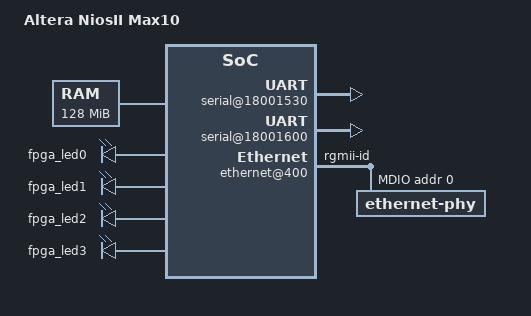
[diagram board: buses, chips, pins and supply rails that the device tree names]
/dts-v1/;

/ {
	model = "Altera NiosII Max10";
	compatible = "altr,niosii-max10";
	#address-cells = <0x1>;
	#size-cells = <0x1>;

	cpus {
		#address-cells = <0x1>;
		#size-cells = <0x0>;

		cpu@0 {
			device_type = "cpu";
			compatible = "altr,nios2-1.1";
			reg = <0x0>;
			interrupt-controller;
			#interrupt-cells = <0x1>;
			altr,exception-addr = <0xc8000120>;
			altr,fast-tlb-miss-addr = <0xc0000100>;
			altr,has-div = <0x1>;
			altr,has-initda = <0x1>;
			altr,has-mmu = <0x1>;
			altr,has-mul = <0x1>;
			altr,implementation = "fast";
			altr,pid-num-bits = <0x8>;
			altr,reset-addr = <0xd4000000>;
			altr,tlb-num-entries = <0x100>;
			altr,tlb-num-ways = <0x10>;
			altr,tlb-ptr-sz = <0x8>;
			clock-frequency = <0x47868c0>;
			dcache-line-size = <0x20>;
			dcache-size = <0x8000>;
			icache-line-size = <0x20>;
			icache-size = <0x8000>;
			phandle = <0x1>;
		};
	};

	memory {
		device_type = "memory";
		reg = <0x8000000 0x8000000 0x0 0x400>;
	};

	sopc@0 {
		device_type = "soc";
		ranges;
		#address-cells = <0x1>;
		#size-cells = <0x1>;
		compatible = "altr,avalon", "simple-bus";
		bus-frequency = <0x47868c0>;

		serial@18001530 {
			compatible = "altr,juart-1.0";
			reg = <0x18001530 0x8>;
			interrupt-parent = <0x1>;
			interrupts = <0x7>;
		};

		serial@18001600 {
			compatible = "altr,16550-FIFO32", "ns16550a";
			reg = <0x18001600 0x200>;
			interrupt-parent = <0x1>;
			interrupts = <0x1>;
			auto-flow-control = <0x1>;
			clock-frequency = <0x2faf080>;
			fifo-size = <0x20>;
			reg-io-width = <0x4>;
			reg-shift = <0x2>;
			tx-threshold = <0x10>;
		};

		sysid@18001528 {
			compatible = "altr,sysid-1.0";
			reg = <0x18001528 0x8>;
			id = <0xfacecafe>;
			timestamp = <0x55500bea>;
		};

		ethernet@400 {
			compatible = "altr,tse-msgdma-1.0", "altr,tse-1.0";
			reg = <0x400 0x400 0x820 0x20 0x800 0x20 0x8c0 0x8 0x840 0x20 0x860 0x20>;
			reg-names = "control_port", "rx_csr", "rx_desc", "rx_resp", "tx_csr", "tx_desc";
			interrupt-parent = <0x1>;
			interrupts = <0x2 0x3>;
			interrupt-names = "rx_irq", "tx_irq";
			rx-fifo-depth = <0x2000>;
			tx-fifo-depth = <0x2000>;
			address-bits = <0x30>;
			max-frame-size = <0x5ee>;
			local-mac-address = [00 00 00 00 00 00];
			altr,has-supplementary-unicast;
			altr,enable-sup-addr = <0x1>;
			altr,has-hash-multicast-filter;
			altr,enable-hash = <0x1>;
			phy-mode = "rgmii-id";
			phy-handle = <0x2>;

			mdio {
				compatible = "altr,tse-mdio";
				#address-cells = <0x1>;
				#size-cells = <0x0>;

				ethernet-phy@0 {
					reg = <0x0>;
					device_type = "ethernet-phy";
					phandle = <0x2>;
				};
			};
		};

		clock@0 {
			compatible = "altr,pll-1.0";
			#clock-cells = <0x1>;

			enet_pll_c0 {
				compatible = "fixed-clock";
				#clock-cells = <0x0>;
				clock-frequency = <0x7735940>;
				clock-output-names = "enet_pll-c0";
			};

			enet_pll_c1 {
				compatible = "fixed-clock";
				#clock-cells = <0x0>;
				clock-frequency = <0x17d7840>;
				clock-output-names = "enet_pll-c1";
			};

			enet_pll_c2 {
				compatible = "fixed-clock";
				#clock-cells = <0x0>;
				clock-frequency = <0x2625a0>;
				clock-output-names = "enet_pll-c2";
			};
		};

		clock@1 {
			compatible = "altr,pll-1.0";
			#clock-cells = <0x1>;

			sys_pll_c0 {
				compatible = "fixed-clock";
				#clock-cells = <0x0>;
				clock-frequency = <0x5f5e100>;
				clock-output-names = "sys_pll-c0";
			};

			sys_pll_c1 {
				compatible = "fixed-clock";
				#clock-cells = <0x0>;
				clock-frequency = <0x2faf080>;
				clock-output-names = "sys_pll-c1";
			};

			sys_pll_c2 {
				compatible = "fixed-clock";
				#clock-cells = <0x0>;
				clock-frequency = <0x47868c0>;
				clock-output-names = "sys_pll-c2";
			};
		};

		timer@18001440 {
			compatible = "altr,timer-1.0";
			reg = <0x18001440 0x20>;
			interrupt-parent = <0x1>;
			interrupts = <0x0>;
			clock-frequency = <0x47868c0>;
		};

		gpio@180014d0 {
			compatible = "altr,pio-1.0";
			reg = <0x180014d0 0x10>;
			altr,ngpio = <0x4>;
			#gpio-cells = <0x2>;
			gpio-controller;
			phandle = <0x3>;
		};

		gpio@180014c0 {
			compatible = "altr,pio-1.0";
			reg = <0x180014c0 0x10>;
			interrupt-parent = <0x1>;
			interrupts = <0x6>;
			altr,ngpio = <0x3>;
			altr,interrupt-type = <0x2>;
			edge_type = <0x1>;
			level_trigger = <0x0>;
			#gpio-cells = <0x2>;
			gpio-controller;
		};

		timer@880 {
			compatible = "altr,timer-1.0";
			reg = <0x880 0x20>;
			interrupt-parent = <0x1>;
			interrupts = <0x5>;
			clock-frequency = <0x47868c0>;
		};

		leds {
			compatible = "gpio-leds";

			fpga0 {
				label = "fpga_led0";
				gpios = <0x3 0x0 0x1>;
			};

			fpga1 {
				label = "fpga_led1";
				gpios = <0x3 0x1 0x1>;
			};

			fpga2 {
				label = "fpga_led2";
				gpios = <0x3 0x2 0x1>;
			};

			fpga3 {
				label = "fpga_led3";
				gpios = <0x3 0x3 0x1>;
			};
		};
	};

	chosen {
		bootargs = "debug earlycon console=ttyS0,115200";
		stdout-path = "/sopc@0/serial@18001600";
	};
};
